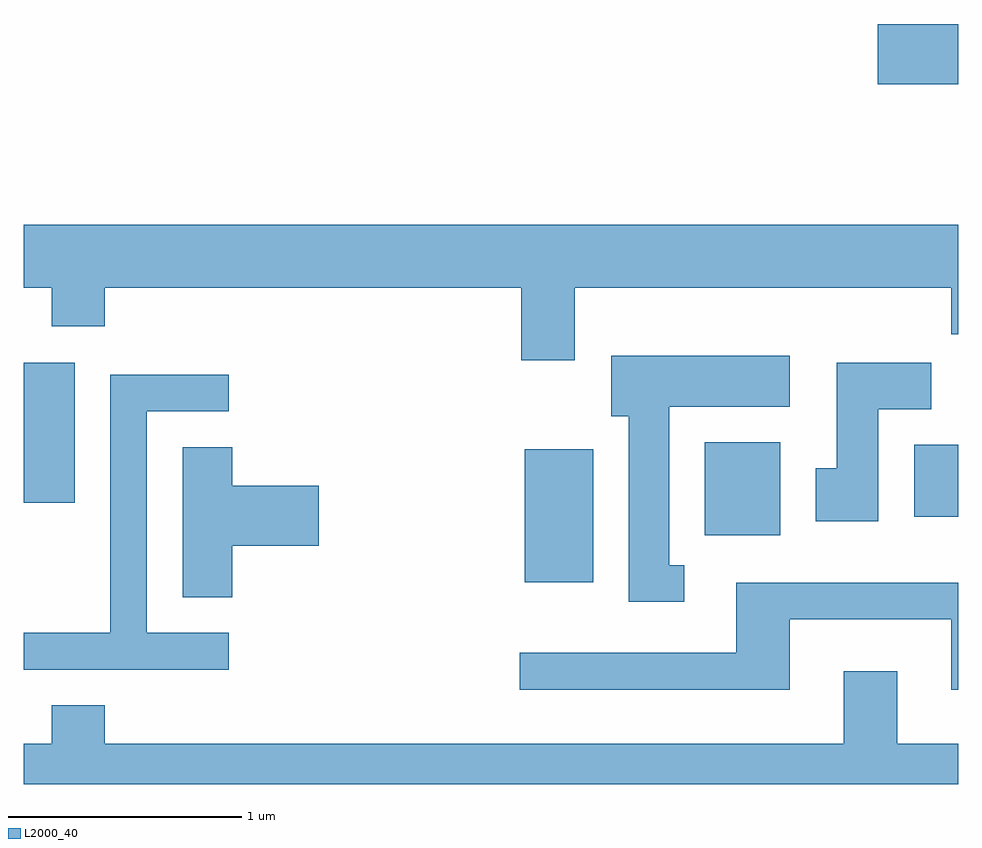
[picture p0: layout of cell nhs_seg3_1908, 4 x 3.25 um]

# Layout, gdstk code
import gdstk
lib = gdstk.Library(unit=1e-6, precision=1e-09)
def R(c, l, rs):  # rectangles x0, y0, x1, y1
    for r in rs: c.add(gdstk.rectangle(r[:2], r[2:], *l))
def P(c, l, *ps):  # polygons
    for p in ps: c.add(gdstk.Polygon(p, *l))
L2000_40 = (2000, 40)

nhs_seg3_1908 = lib.new_cell('nhs_seg3_1908')
R(nhs_seg3_1908, L2000_40, [(243.756,1124.756,244.049,1125.324), (244.526,1124.956,244.849,1125.354), (245.421,1125.036,245.611,1125.344), (241.611,1125.096,241.829,1125.694), (245.266,1126.886,245.611,1127.144)])
P(nhs_seg3_1908, L2000_40, [(243.969,1126.016),(245.581,1126.016),(245.581,1125.816),(245.611,1125.816),(245.611,1126.284),(241.611,1126.284),(241.611,1126.016),(241.731,1126.016),(241.731,1125.851),(241.959,1125.851),(241.959,1126.016),(243.741,1126.016),(243.741,1125.706),(243.969,1125.706)],
  [(244.438,1124.829),(244.374,1124.829),(244.374,1125.506),(244.889,1125.506),(244.889,1125.724),(244.126,1125.724),(244.126,1125.466),(244.201,1125.466),(244.201,1124.671),(244.438,1124.671)],
  [(245.269,1125.496),(245.494,1125.496),(245.494,1125.694),(245.091,1125.694),(245.091,1125.244),(245.001,1125.244),(245.001,1125.016),(245.269,1125.016)],
  [(242.488,1124.539),(242.139,1124.539),(242.139,1125.486),(242.488,1125.486),(242.488,1125.644),(241.981,1125.644),(241.981,1124.539),(241.611,1124.539),(241.611,1124.381),(242.488,1124.381)],
  [(242.504,1124.911),(242.874,1124.911),(242.874,1125.169),(242.504,1125.169),(242.504,1125.334),(242.291,1125.334),(242.291,1124.691),(242.504,1124.691)],
  [(244.889,1124.596),(245.581,1124.596),(245.581,1124.296),(245.611,1124.296),(245.611,1124.754),(244.661,1124.754),(244.661,1124.454),(243.733,1124.454),(243.733,1124.296),(244.889,1124.296)],
  [(245.611,1124.064),(245.349,1124.064),(245.349,1124.374),(245.121,1124.374),(245.121,1124.064),(241.959,1124.064),(241.959,1124.229),(241.731,1124.229),(241.731,1124.064),(241.611,1124.064),(241.611,1123.892),(245.611,1123.892)])

lib.write_gds('nhs_seg3_1908.gds')
